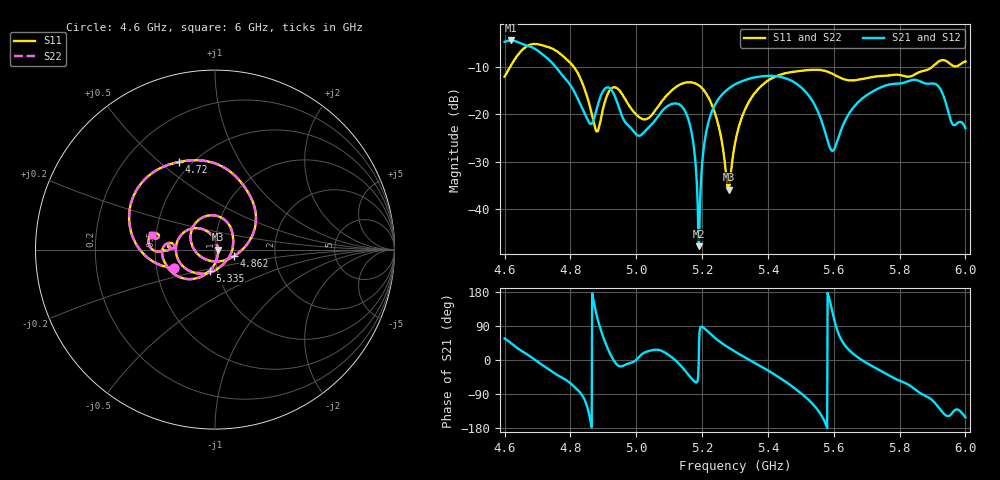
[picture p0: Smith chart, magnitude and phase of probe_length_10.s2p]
! TOUCHSTONE file generated by CST MICROWAVE STUDIO
! Date and time: Sat Nov 30 13:12:01 2024
! Project name: test_tuning.cst
! Parameters = {airCoaxOuterDiameter=3; chamferAngle=45; chamferWidth=24; connectorLength=10; drillingHoleDiameter=4.1; feedLength=60; flareDiameter=130; flareLength=70; gratingDistance=0; gratingGap=1.90274; outletLength=30; polarizerLength=134; probe1Diameter=1.3; probe1Distance=14; probe1Length=1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
! Header version: 2024
! Port assignment regex: !\s*Touchstone port\s*([0-9]+)\s*=\s*(CST MWS port|CST DES external port|CST DES block port)\s*(.+)\s* \(\"(.*)\"\)(\s*mode\s*([0-9]+))?.*
! Touchstone port assignment:
! Touchstone port 1 = CST MWS port 1 ("Input1")
! Touchstone port 2 = CST MWS port 2 ("Input2")
# GHz S MA R 50
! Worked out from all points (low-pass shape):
!   1001 points, 4.6 GHz to 6 GHz, reference 50 ohm
!   highest |S21| = -4.40 dB at 4.62 GHz (marker M1); lowest = -47.8 dB at 5.189 GHz (marker M2)
!   |S21| within 3 dB of the highest: start of sweep to 4.716 GHz
!   lowest |S11| = -35.8 dB at 5.28 GHz (marker M3), VSWR 1.03, Z = 51.6 + j0.000881 ohm
!   |S11| at or under -10 dB: start of sweep to 4.616673 GHz; 4.81 GHz to 5.899 GHz (1.088 GHz wide, 20.3 % of centre)
!   |S22| runs from -35.8 to -5.1 dB; largest |S21 - S12| = 1.1e-06
!   S11 on the Smith chart (normalised r, x): 4.6 GHz: 0.62, -0.14; 4.72 GHz: 0.43, +0.58; 4.862 GHz: 1.23, -0.09; 5.335 GHz: 0.92, -0.22; 6 GHz: 0.47, +0.09
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4.6  0.2504 -155.5  0.583 56.8  0.583 56.8  0.2504 -155.5
4.6196  0.3293 -165.9  0.6024 44.3  0.6024 44.3  0.3293 -165.9
4.6686  0.5253 154.8  0.5312 15.0  0.5312 15.0  0.5253 154.8
4.7204  0.5283 112.4  0.4153 -16.5  0.4153 -16.5  0.5283 112.4
4.8338  0.2242 21.2  0.1201 -90.7  0.1201 -90.7  0.2242 21.2
4.8618  0.112 -19.1  0.07933 -164.4  0.07933 -164.4  0.112 -19.1
4.8828  0.06672 -107.0  0.1244 107.2  0.1244 107.2  0.06672 -107.0
4.9122  0.161 146.9  0.1928 32.5  0.1928 32.5  0.161 146.9
5.0032  0.09711 1.6  0.06028 3.2  0.06028 3.2  0.09711 1.6
5.0676  0.1232 -96.5  0.09691 26.7  0.09691 26.7  0.1232 -96.5
5.1516  0.217 -173.1  0.1025 -31.7  0.1025 -31.7  0.217 -173.1
5.1726  0.2157 169.3  0.05203 -53.2  0.05203 -53.2  0.2157 169.3
5.1894  0.2033 154.7  0.00408 -16.1  0.00408 -16.1  0.2033 154.7
5.2188  0.152 128.2  0.0813 74.2  0.0813 74.2  0.152 128.2
5.2804  0.01613 0.0  0.187 32.7  0.187 32.7  0.01613 0.0
5.3  0.0495 -77.1  0.2074 22.1  0.2074 22.1  0.0495 -77.1
5.335  0.1218 -103.9  0.2329 4.7  0.2329 4.7  0.1218 -103.9
5.5338  0.2953 -172.9  0.1412 -114.0  0.1412 -114.0  0.2953 -172.9
5.5968  0.2674 172.5  0.04137 123.8  0.04137 123.8  0.2674 172.5
5.7676  0.2574 177.1  0.2064 -40.5  0.2064 -40.5  0.2574 177.1
5.9104  0.3432 -179.4  0.2081 -116.1  0.2081 -116.1  0.3432 -179.4
6  0.3621 166.8  0.07161 -151.4  0.07161 -151.4  0.3621 166.8
